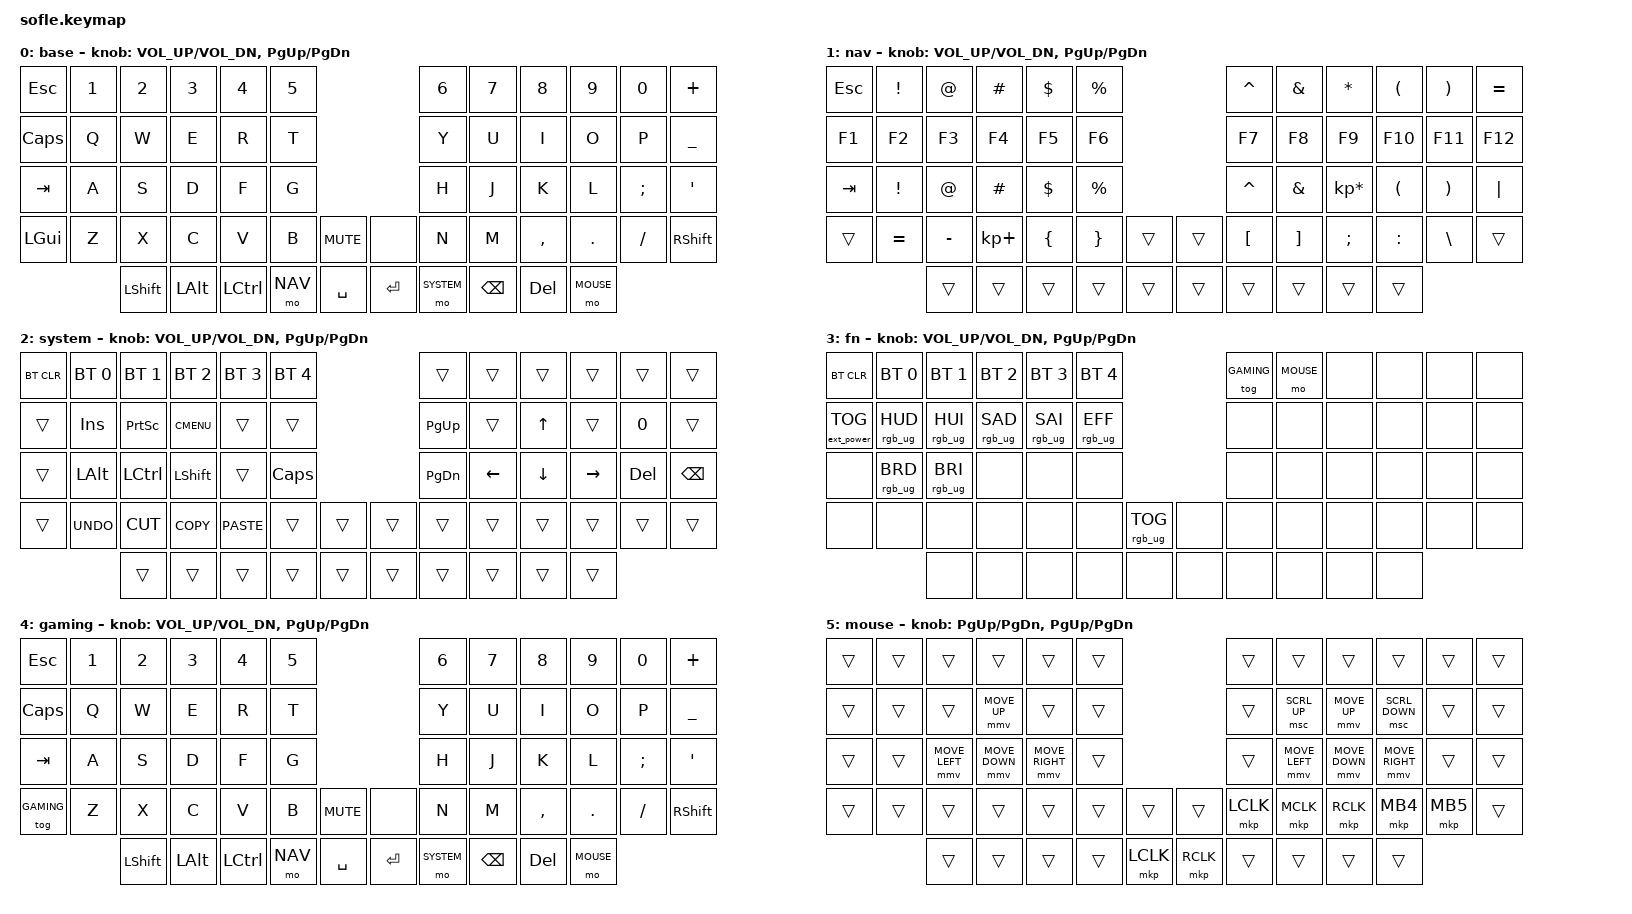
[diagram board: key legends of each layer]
/*
 * Copyright (c) 2020 The ZMK Contributors
 *
 * SPDX-License-Identifier: MIT
 */

#define ZMK_POINTING_DEFAULT_MOVE_VAL 1200
#define ZMK_POINTING_DEFAULT_SCRL_VAL 25

#include <behaviors.dtsi>
#include <dt-bindings/zmk/bt.h>
#include <dt-bindings/zmk/ext_power.h>
#include <dt-bindings/zmk/keys.h>
#include <dt-bindings/zmk/rgb.h>
#include <dt-bindings/zmk/pointing.h>

#define BASE 0
#define NAV 1
#define SYSTEM 2
#define FN 3
#define GAMING 4
#define MOUSE 5

/ {
    // Activate FN layer by pressing NAV and SYSTEM together.
    conditional_layers {
        compatible = "zmk,conditional-layers";

        fn_layer_combo {
            if-layers = <NAV SYSTEM>;
            then-layer = <FN>;
        };
    };

    keymap {
        compatible = "zmk,keymap";

        base_layer {
            label = "base";

            bindings = <
&kp ESC       &kp N1  &kp N2          &kp N3    &kp N4     &kp N5                              &kp N6     &kp N7         &kp N8      &kp N9        &kp N0    &kp PLUS
&kp CAPSLOCK  &kp Q   &kp W           &kp E     &kp R      &kp T                               &kp Y      &kp U          &kp I       &kp O         &kp P     &kp UNDERSCORE
&kp TAB       &kp A   &kp S           &kp D     &kp F      &kp G                               &kp H      &kp J          &kp K       &kp L         &kp SEMI  &kp SQT
&kp LEFT_GUI  &kp Z   &kp X           &kp C     &kp V      &kp B      &kp C_MUTE    &none      &kp N      &kp M          &kp COMMA   &kp DOT       &kp FSLH  &kp RSHFT
                      &kp LEFT_SHIFT  &kp LALT  &kp LCTRL  &mo NAV    &kp SPACE     &kp ENTER  &mo SYSTEM &kp BACKSPACE  &kp DELETE  &mo MOUSE
            >;

            sensor-bindings = <&inc_dec_kp C_VOL_UP C_VOL_DN &inc_dec_kp PG_UP PG_DN>;
        };

        nav_layer {
            label = "nav";

            bindings = <
&kp ESC  &kp EXCLAMATION  &kp AT_SIGN  &kp HASH     &kp DOLLAR  &kp PERCENT                    &kp CARET  &kp AMPERSAND  &kp ASTERISK     &kp LEFT_PARENTHESIS  &kp RIGHT_PARENTHESIS  &kp EQUAL
&kp F1   &kp F2           &kp F3       &kp F4       &kp F5      &kp F6                         &kp F7     &kp F8         &kp F9           &kp F10               &kp F11                &kp F12
&kp TAB  &kp EXCL         &kp AT       &kp HASH     &kp DLLR    &kp PRCNT                      &kp CARET  &kp AMPS       &kp KP_MULTIPLY  &kp LPAR              &kp RPAR               &kp PIPE
&trans   &kp EQUAL        &kp MINUS    &kp KP_PLUS  &kp LBRC    &kp RBRC     &trans    &trans  &kp LBKT   &kp RBKT       &kp SEMI         &kp COLON             &kp BSLH               &trans
                          &trans       &trans       &trans      &trans       &trans    &trans  &trans     &trans         &trans           &trans
            >;

            sensor-bindings = <&inc_dec_kp C_VOL_UP C_VOL_DN &inc_dec_kp PG_UP PG_DN>;
        };

        system_layer {
            label = "system";

            bindings = <
&bt BT_CLR  &bt BT_SEL 0  &bt BT_SEL 1  &bt BT_SEL 2  &bt BT_SEL 3  &bt BT_SEL 4                    &trans     &trans    &trans    &trans     &trans   &trans
&trans      &kp INS       &kp PSCRN     &kp K_CMENU   &trans        &trans                          &kp PG_UP  &trans    &kp UP    &trans     &kp N0   &trans
&trans      &kp LALT      &kp LCTRL     &kp LSHFT     &trans        &kp CLCK                        &kp PG_DN  &kp LEFT  &kp DOWN  &kp RIGHT  &kp DEL  &kp BSPC
&trans      &kp K_UNDO    &kp K_CUT     &kp K_COPY    &kp K_PASTE   &trans        &trans    &trans  &trans     &trans    &trans    &trans     &trans   &trans
                          &trans        &trans        &trans        &trans        &trans    &trans  &trans     &trans    &trans    &trans
            >;

            sensor-bindings = <&inc_dec_kp C_VOL_UP C_VOL_DN &inc_dec_kp PG_UP PG_DN>;
        };

        fn_layer {
            label = "fn";

            bindings = <
&bt BT_CLR         &bt BT_SEL 0     &bt BT_SEL 1     &bt BT_SEL 2     &bt BT_SEL 3     &bt BT_SEL 4                               &tog GAMING  &mo MOUSE  &none  &none  &none  &none
&ext_power EP_TOG  &rgb_ug RGB_HUD  &rgb_ug RGB_HUI  &rgb_ug RGB_SAD  &rgb_ug RGB_SAI  &rgb_ug RGB_EFF                            &none        &none      &none  &none  &none  &none
&none              &rgb_ug RGB_BRD  &rgb_ug RGB_BRI  &none            &none            &none                                      &none        &none      &none  &none  &none  &none
&none              &none            &none            &none            &none            &none            &rgb_ug RGB_TOG    &none              &none        &none      &none  &none  &none  &none
                                    &none            &none            &none            &none            &none              &none              &none        &none      &none  &none
            >;

            sensor-bindings = <&inc_dec_kp C_VOL_UP C_VOL_DN &inc_dec_kp PG_UP PG_DN>;
        };

        gaming_layer {
            label = "gaming";

            // Same as base, but Left GUI is replaced with gaming toggle-off.
            bindings = <
&kp ESC       &kp N1  &kp N2          &kp N3    &kp N4     &kp N5                              &kp N6     &kp N7         &kp N8      &kp N9        &kp N0    &kp PLUS
&kp CAPSLOCK  &kp Q   &kp W           &kp E     &kp R      &kp T                               &kp Y      &kp U          &kp I       &kp O         &kp P     &kp UNDERSCORE
&kp TAB       &kp A   &kp S           &kp D     &kp F      &kp G                               &kp H      &kp J          &kp K       &kp L         &kp SEMI  &kp SQT
&tog GAMING   &kp Z   &kp X           &kp C     &kp V      &kp B      &kp C_MUTE    &none      &kp N      &kp M          &kp COMMA   &kp DOT       &kp FSLH  &kp RSHFT
                      &kp LEFT_SHIFT  &kp LALT  &kp LCTRL  &mo NAV    &kp SPACE     &kp ENTER  &mo SYSTEM &kp BACKSPACE  &kp DELETE  &mo MOUSE
            >;

            sensor-bindings = <&inc_dec_kp C_VOL_UP C_VOL_DN &inc_dec_kp PG_UP PG_DN>;
        };

        mouse_layer {
            label = "mouse";

            bindings = <
&trans  &trans  &trans          &trans          &trans           &trans                              &trans           &trans        &trans          &trans          &trans      &trans
&trans  &trans  &trans          &mmv MOVE_UP    &trans           &trans                              &trans           &msc SCRL_UP  &mmv MOVE_UP    &msc SCRL_DOWN &trans      &trans
&trans  &trans  &mmv MOVE_LEFT  &mmv MOVE_DOWN  &mmv MOVE_RIGHT  &trans                              &trans           &mmv MOVE_LEFT &mmv MOVE_DOWN  &mmv MOVE_RIGHT &trans     &trans
&trans  &trans  &trans          &trans          &trans           &trans   &trans    &trans            &mkp LCLK        &mkp MCLK     &mkp RCLK       &mkp MB4       &mkp MB5  &trans
                          &trans        &trans        &trans        &trans        &mkp LCLK  &mkp RCLK  &trans     &trans    &trans    &trans
            >;

            sensor-bindings = <&inc_dec_kp PG_UP PG_DN &inc_dec_kp PG_UP PG_DN>;
        };
    };
};
